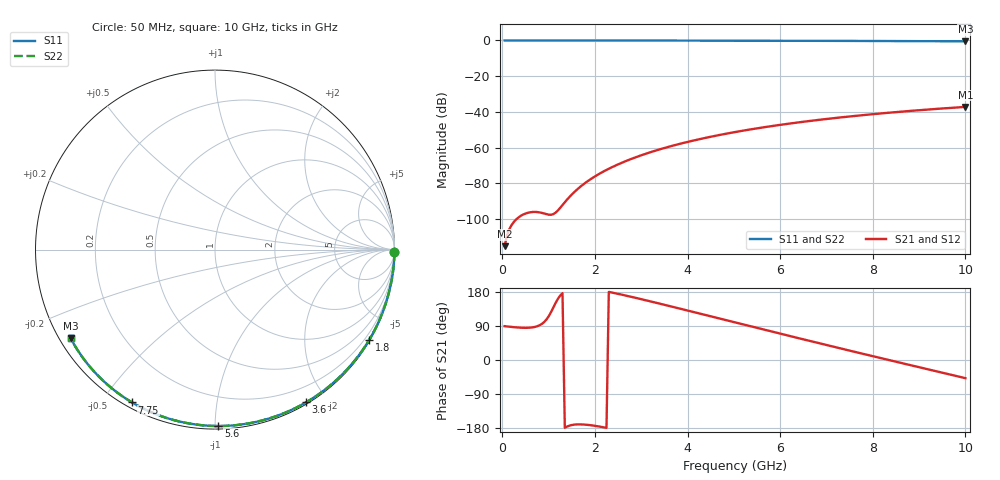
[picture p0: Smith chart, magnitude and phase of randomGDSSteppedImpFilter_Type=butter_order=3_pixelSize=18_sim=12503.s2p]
! freq	dB(S11)	phase(S11)	dB(S12)	phase(S12)
!  dB(S21)	phase(S21)	dB(S22)	phase(S22)
!S-par simulation data
#  GHz  S  DB  R 50
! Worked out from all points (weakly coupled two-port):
!   200 points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, 50 MHz to 10 GHz, reference 50 ohm
!   highest |S21| = -37.19 dB at 10 GHz (marker M1); lowest = -115.1 dB at 50 MHz (marker M2)
!   lowest |S11| = -0.5 dB at 10 GHz (marker M3), VSWR 34.77, Z = 1.55 - j14.1 ohm
!   |S11| at or under -10 dB: nowhere
!   |S22| runs from -0.5 to 0.0 dB; largest |S21 - S12| = 0
!   S11 on the Smith chart (normalised r, x): 50 MHz: open; 1.8 GHz: 0.03, -3.69; 3.6 GHz: 0.02, -1.76; 5.6 GHz: 0.02, -1.02; 7.75 GHz: 0.02, -0.60; 10 GHz: 0.03, -0.28
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0.05  -0.00 -0.9  -115.15 89.3  -115.15 89.3  -0.00 -0.9
0.45  -0.01 -7.7  -97.46 85.0  -97.46 85.0  -0.01 -7.7
0.9  -0.02 -15.3  -96.84 99.7  -96.84 99.7  -0.02 -15.3
1.75  -0.04 -29.5  -80.54 -170.2  -80.54 -170.2  -0.04 -29.5
1.8  -0.04 -30.3  -79.57 -170.7  -79.57 -170.7  -0.04 -30.3
1.95  -0.04 -32.8  -76.92 -172.8  -76.92 -172.8  -0.04 -32.8
2.1  -0.05 -35.3  -74.58 -175.7  -74.58 -175.7  -0.05 -35.3
2.3  -0.05 -38.5  -71.81 179.7  -71.81 179.7  -0.05 -38.5
2.5  -0.05 -41.8  -69.37 174.6  -69.37 174.6  -0.05 -41.8
2.9  -0.06 -48.2  -65.20 163.4  -65.20 163.4  -0.06 -48.2
3.4  -0.07 -56.0  -60.94 148.7  -60.94 148.7  -0.07 -56.0
3.6  -0.08 -59.2  -59.46 142.7  -59.46 142.7  -0.08 -59.2
4.3  -0.10 -69.8  -55.01 121.4  -55.01 121.4  -0.10 -69.8
5.05  -0.12 -81.0  -51.16 98.5  -51.16 98.5  -0.12 -81.0
5.6  -0.15 -88.9  -48.79 81.7  -48.79 81.7  -0.15 -88.9
6.15  -0.17 -96.7  -46.71 65.1  -46.71 65.1  -0.17 -96.7
6.7  -0.20 -104.3  -44.87 48.5  -44.87 48.5  -0.20 -104.3
7.2  -0.23 -111.1  -43.37 33.6  -43.37 33.6  -0.23 -111.1
7.75  -0.27 -118.5  -41.89 17.4  -41.89 17.4  -0.27 -118.5
8.35  -0.32 -126.5  -40.44 -0.1  -40.44 -0.1  -0.32 -126.5
9.2  -0.41 -137.7  -38.65 -24.8  -38.65 -24.8  -0.41 -137.7
10  -0.50 -148.4  -37.19 -47.9  -37.19 -47.9  -0.50 -148.4
